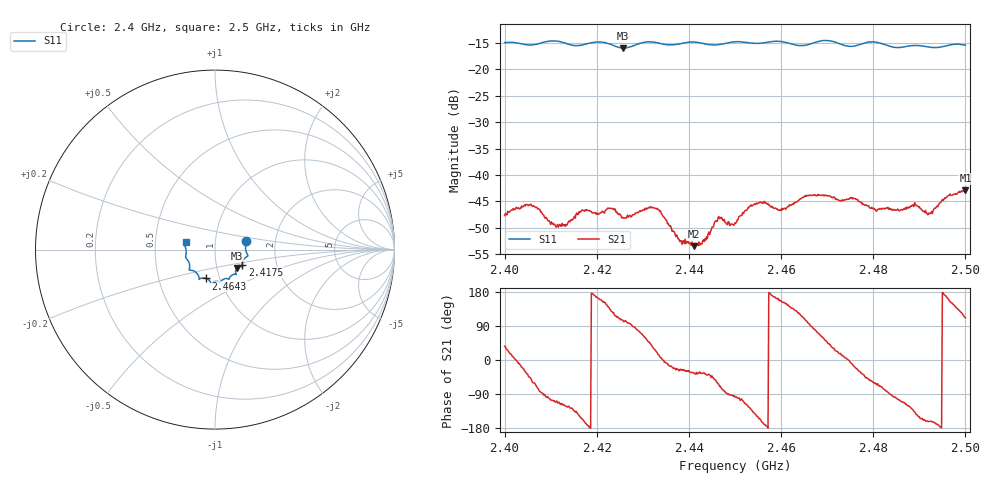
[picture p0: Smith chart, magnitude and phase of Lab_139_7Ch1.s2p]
# Hz S RI R 50
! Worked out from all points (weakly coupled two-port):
!   601 points, 2.4 GHz to 2.5 GHz, reference 50 ohm
!   highest |S21| = -42.93 dB at 2.5 GHz (marker M1); lowest = -53.5 dB at 2.441 GHz (marker M2)
!   lowest |S11| = -15.9 dB at 2.4257 GHz (marker M3), VSWR 1.38, Z = 62.5 - j13.1 ohm
!   |S11| at or under -10 dB: start of sweep to end of sweep
!   S12 and S22 are empty: the file has one direction only
!   S11 on the Smith chart (normalised r, x): 2.4 GHz: 1.41, +0.14; 2.4175 GHz: 1.34, -0.23; 2.4643 GHz: 0.86, -0.28; 2.5 GHz: 0.72, +0.06
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2.4e9  0.1728 0.0487  0.00332 0.00245  0 0  0 0
2.405333e9  0.1701 0.0101  0.00367 -0.00372  0 0  0 0
2.411667e9  0.1815 -0.0366  -0.00119 -0.00297  0 0  0 0
2.416667e9  0.1529 -0.0743  -0.00406 -0.00208  0 0  0 0
2.4175e9  0.1518 -0.0836  -0.00453 -0.00113  0 0  0 0
2.423167e9  0.1443 -0.0941  -0.00299 0.00377  0 0  0 0
2.425667e9  0.1228 -0.1019  -0.000994 0.00384  0 0  0 0
2.433333e9  0.1133 -0.1373  0.00456 0.00111  0 0  0 0
2.438e9  0.0824 -0.1542  0.00211 -0.00103  0 0  0 0
2.441e9  0.0774 -0.1649  0.00175 -0.00119  0 0  0 0
2.443167e9  0.0689 -0.1622  0.00202 -0.00136  0 0  0 0
2.446667e9  0.0426 -0.1672  0.00133 -0.00363  0 0  0 0
2.45e9  0.0291 -0.1808  -0.000476 -0.00349  0 0  0 0
2.454667e9  0.00515 -0.1766  -0.00455 -0.00292  0 0  0 0
2.459833e9  -0.0242 -0.1831  -0.0043 0.00191  0 0  0 0
2.464333e9  -0.0499 -0.1606  -0.0027 0.00532  0 0  0 0
2.466667e9  -0.0757 -0.1591  0.000183 0.00641  0 0  0 0
2.483333e9  -0.1408 -0.09  0.000262 -0.00473  0 0  0 0
2.489e9  -0.1627 -0.0451  -0.00402 -0.00369  0 0  0 0
2.492333e9  -0.1612 -0.0219  -0.00412 -0.00136  0 0  0 0
2.496167e9  -0.1674 0.0208  -0.00605 0.00189  0 0  0 0
2.5e9  -0.1642 0.0433  -0.00259 0.00665  0 0  0 0
